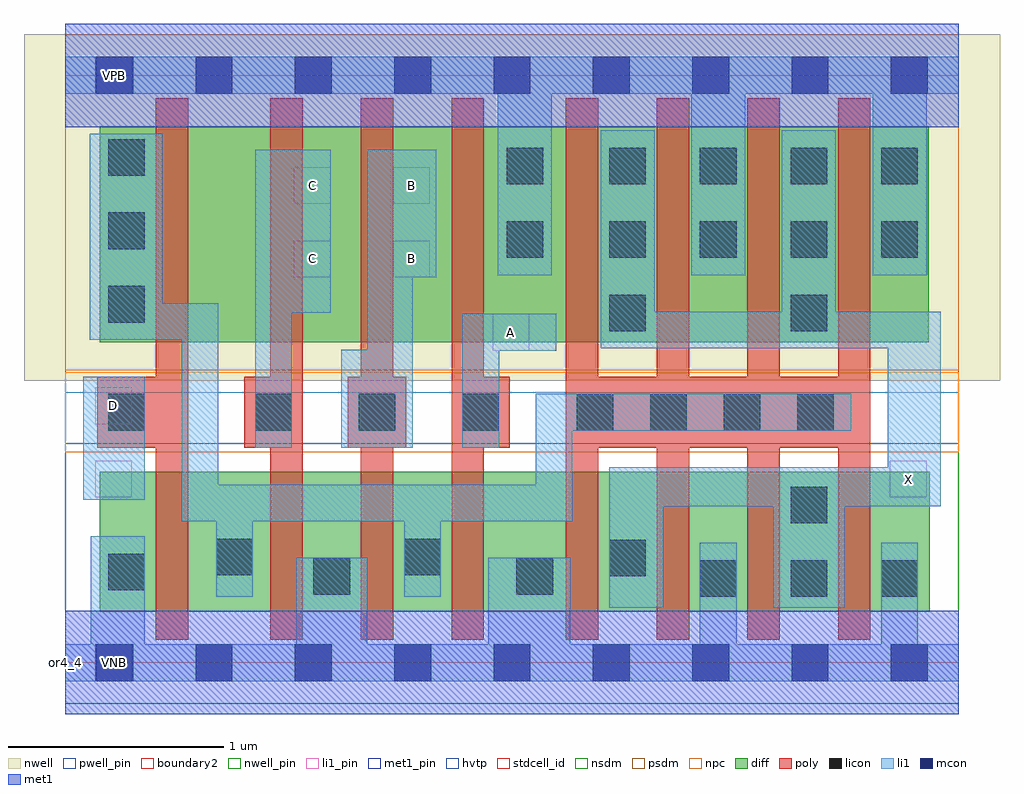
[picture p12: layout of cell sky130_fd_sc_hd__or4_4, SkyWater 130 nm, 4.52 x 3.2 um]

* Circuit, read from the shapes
.subckt sky130_fd_sc_hd__or4_4 A B C D VGND VNB VPB VPWR X
XM1 n1 D VGND VNB sky130_fd_pr__nfet_01v8 w=0.65 l=0.15
XM2 VGND C n1 VNB sky130_fd_pr__nfet_01v8 w=0.65 l=0.15
XM3 n1 B VGND VNB sky130_fd_pr__nfet_01v8 w=0.65 l=0.15
XM4 VGND A n1 VNB sky130_fd_pr__nfet_01v8 w=0.65 l=0.15
XM5 X n1 VGND VNB sky130_fd_pr__nfet_01v8 w=0.65 l=0.15 m=4
XM6 n2 D n1 VPB sky130_fd_pr__pfet_01v8_hvt w=1 l=0.15
XM7 n3 C n2 VPB sky130_fd_pr__pfet_01v8_hvt w=1 l=0.15
XM8 n4 B n3 VPB sky130_fd_pr__pfet_01v8_hvt w=1 l=0.15
XM9 VPWR A n4 VPB sky130_fd_pr__pfet_01v8_hvt w=1 l=0.15
XM10 X n1 VPWR VPB sky130_fd_pr__pfet_01v8_hvt w=1 l=0.15 m=4
.ends

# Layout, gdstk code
import gdstk
lib = gdstk.Library(unit=1e-6, precision=1e-09)
def R(c, l, rs):  # rectangles x0, y0, x1, y1
    for r in rs: c.add(gdstk.rectangle(r[:2], r[2:], *l))
def A(c, l, x, y, w, h, nx, ny, dx, dy):  # array of equal rectangles
    R(c, l, [(x+i*dx, y+j*dy, x+i*dx+w, y+j*dy+h) for i in range(nx) for j in range(ny)])
def P(c, l, *ps):  # polygons
    for p in ps: c.add(gdstk.Polygon(p, *l))
nwell_pin = (64, 16)
nwell = (64, 20)
diff = (65, 20)
poly = (66, 20)
licon = (66, 44)
li1_pin = (67, 16)
li1 = (67, 20)
mcon = (67, 44)
met1_pin = (68, 16)
met1 = (68, 20)
hvtp = (78, 44)
stdcell_id = (81, 4)
nsdm = (93, 44)
psdm = (94, 20)
npc = (95, 20)
pwell_pin = (122, 16)
boundary2 = (236, 0)

sky130_fd_sc_hd__or4_4 = lib.new_cell('sky130_fd_sc_hd__or4_4')
R(sky130_fd_sc_hd__or4_4, nwell_pin, [(0.14,2.635,0.31,2.805)])
R(sky130_fd_sc_hd__or4_4, nwell, [(-0.19,1.305,4.33,2.91)])
R(sky130_fd_sc_hd__or4_4, diff, [(0.16,0.235,4.005,0.885), (0.16,1.485,4,2.485)])
P(sky130_fd_sc_hd__or4_4, poly, [(0.57,2.615),(0.42,2.615),(0.42,1.325),(0.15,1.325),(0.15,0.995),(0.42,0.995),(0.42,0.105),(0.57,0.105)],
  [(1.1,2.615),(0.95,2.615),(0.95,1.325),(0.83,1.325),(0.83,0.995),(0.95,0.995),(0.95,0.105),(1.1,0.105)],
  [(1.58,1.325),(1.52,1.325),(1.52,2.615),(1.37,2.615),(1.37,1.325),(1.31,1.325),(1.31,0.995),(1.37,0.995),(1.37,0.105),(1.52,0.105),(1.52,0.995),(1.58,0.995)],
  [(2.06,1.325),(1.94,1.325),(1.94,2.615),(1.79,2.615),(1.79,0.105),(1.94,0.105),(1.94,0.995),(2.06,0.995)],
  [(3.73,2.615),(3.58,2.615),(3.58,1.325),(3.31,1.325),(3.31,2.615),(3.16,2.615),(3.16,1.325),(2.89,1.325),(2.89,2.615),(2.74,2.615),(2.74,1.325),(2.47,1.325),(2.47,2.615),(2.32,2.615),(2.32,0.105),(2.47,0.105),(2.47,0.995),(2.74,0.995),(2.74,0.105),(2.89,0.105),(2.89,0.995),(3.16,0.995),(3.16,0.105),(3.31,0.105),(3.31,0.995),(3.58,0.995),(3.58,0.105),(3.73,0.105)])
A(sky130_fd_sc_hd__or4_4, licon, 2.94, 0.305, 0.17, 0.17, 3, 1, 0.42, 0)
A(sky130_fd_sc_hd__or4_4, licon, 0.88, 1.075, 0.17, 0.17, 3, 1, 0.48, 0)
A(sky130_fd_sc_hd__or4_4, licon, 2.37, 1.075, 0.17, 0.17, 4, 1, 0.34, 0)
A(sky130_fd_sc_hd__or4_4, licon, 0.2, 1.575, 0.17, 0.17, 1, 3, 0, 0.34)
A(sky130_fd_sc_hd__or4_4, licon, 2.52, 1.875, 0.17, 0.17, 4, 2, 0.42, 0.34)
R(sky130_fd_sc_hd__or4_4, licon, [(1.15,0.315,1.32,0.485), (2.09,0.315,2.26,0.485), (0.2,0.335,0.37,0.505), (2.52,0.4,2.69,0.57), (0.7,0.405,0.87,0.575), (1.57,0.405,1.74,0.575), (3.36,0.645,3.53,0.815), (0.2,1.075,0.37,1.245), (2.52,1.535,2.69,1.705), (3.36,1.535,3.53,1.705), (2.045,1.875,2.215,2.045), (2.045,2.215,2.215,2.385)])
R(sky130_fd_sc_hd__or4_4, li1_pin, [(0.14,0.765,0.31,0.935), (3.82,0.765,3.99,0.935), (0.14,1.105,0.31,1.275), (1.98,1.445,2.15,1.615), (1.06,1.785,1.23,1.955), (1.52,1.785,1.69,1.955), (1.06,2.125,1.23,2.295), (1.52,2.125,1.69,2.295)])
R(sky130_fd_sc_hd__or4_4, li1, [(0.085,0.755,0.37,1.325)])
P(sky130_fd_sc_hd__or4_4, li1, [(1.23,2.375),(0.88,2.375),(0.88,0.995),(1.05,0.995),(1.05,1.62),(1.23,1.62)],
  [(1.72,2.375),(1.4,2.375),(1.4,1.45),(1.28,1.45),(1.28,0.995),(1.61,0.995),(1.61,1.785),(1.72,1.785)],
  [(2.275,1.615),(1.84,1.615),(1.84,0.995),(2.01,0.995),(2.01,1.445),(2.275,1.445)],
  [(3.64,1.245),(2.18,1.245),(2.18,0.825),(0.71,0.825),(0.71,1.665),(0.45,1.665),(0.45,2.45),(0.115,2.45),(0.115,1.495),(0.54,1.495),(0.54,0.655),(0.7,0.655),(0.7,0.305),(0.87,0.305),(0.87,0.655),(1.57,0.655),(1.57,0.305),(1.74,0.305),(1.74,0.655),(2.35,0.655),(2.35,1.075),(3.64,1.075)],
  [(4.055,1.625),(3.57,1.625),(3.57,2.465),(3.32,2.465),(3.32,1.625),(2.73,1.625),(2.73,2.465),(2.48,2.465),(2.48,1.455),(3.81,1.455),(3.81,0.905),(2.52,0.905),(2.52,0.255),(2.77,0.255),(2.77,0.725),(3.28,0.725),(3.28,0.255),(3.61,0.255),(3.61,0.725),(4.055,0.725)],
  [(4.14,0.085),(3.95,0.085),(3.95,0.555),(3.78,0.555),(3.78,0.085),(3.11,0.085),(3.11,0.555),(2.94,0.555),(2.94,0.085),(2.34,0.085),(2.34,0.485),(1.96,0.485),(1.96,0.085),(1.4,0.085),(1.4,0.485),(1.07,0.485),(1.07,0.085),(0.37,0.085),(0.37,0.585),(0.12,0.585),(0.12,0.085),(0,0.085),(0,-0.085),(4.14,-0.085)],
  [(4.14,2.805),(0,2.805),(0,2.635),(2.005,2.635),(2.005,1.795),(2.255,1.795),(2.255,2.635),(2.9,2.635),(2.9,1.795),(3.15,1.795),(3.15,2.635),(3.74,2.635),(3.74,1.795),(3.99,1.795),(3.99,2.635),(4.14,2.635)])
A(sky130_fd_sc_hd__or4_4, mcon, 0.145, -0.085, 0.17, 0.17, 9, 2, 0.46, 2.72)
R(sky130_fd_sc_hd__or4_4, met1_pin, [(0.14,-0.085,0.31,0.085), (0.14,2.635,0.31,2.805)])
R(sky130_fd_sc_hd__or4_4, hvtp, [(0,1.25,4.14,2.72)])
R(sky130_fd_sc_hd__or4_4, stdcell_id, [(0,0,4.14,2.72)])
R(sky130_fd_sc_hd__or4_4, nsdm, [(0,-0.19,4.14,1.015)])
R(sky130_fd_sc_hd__or4_4, psdm, [(0,1.355,4.14,2.91)])
R(sky130_fd_sc_hd__or4_4, npc, [(0,0.975,4.14,1.345)])
R(sky130_fd_sc_hd__or4_4, pwell_pin, [(0.14,-0.085,0.31,0.085)])
R(sky130_fd_sc_hd__or4_4, boundary2, [(0,0,4.14,2.72)])
sky130_fd_sc_hd__or4_4.add(gdstk.FlexPath([(0,2.72),(4.14,2.72)], 0.48, ends="flush", simple_path=True, layer=68, datatype=20))  # met1
sky130_fd_sc_hd__or4_4.add(gdstk.FlexPath([(0,0),(4.14,0)], 0.48, ends="flush", simple_path=True, layer=68, datatype=20))  # met1
sky130_fd_sc_hd__or4_4.add(gdstk.Label('B', (1.605,2.21), layer=67, texttype=5))
sky130_fd_sc_hd__or4_4.add(gdstk.Label('B', (1.605,1.87), layer=67, texttype=5))
sky130_fd_sc_hd__or4_4.add(gdstk.Label('C', (1.145,1.87), layer=67, texttype=5))
sky130_fd_sc_hd__or4_4.add(gdstk.Label('A', (2.065,1.53), layer=67, texttype=5))
sky130_fd_sc_hd__or4_4.add(gdstk.Label('C', (1.145,2.21), layer=67, texttype=5))
sky130_fd_sc_hd__or4_4.add(gdstk.Label('D', (0.225,1.19), layer=67, texttype=5))
sky130_fd_sc_hd__or4_4.add(gdstk.Label('X', (3.905,0.85), layer=67, texttype=5))
sky130_fd_sc_hd__or4_4.add(gdstk.Label('VNB', (0.23,0), layer=64, texttype=59))
sky130_fd_sc_hd__or4_4.add(gdstk.Label('VPB', (0.23,2.72), layer=64, texttype=5))
sky130_fd_sc_hd__or4_4.add(gdstk.Label('VPWR', (0.23,2.72), layer=68, texttype=5))
sky130_fd_sc_hd__or4_4.add(gdstk.Label('VGND', (0.23,0), layer=68, texttype=5))
sky130_fd_sc_hd__or4_4.add(gdstk.Label('or4_4', (0,0), layer=83, texttype=44))

lib.write_gds('sky130_fd_sc_hd__or4_4.gds')
